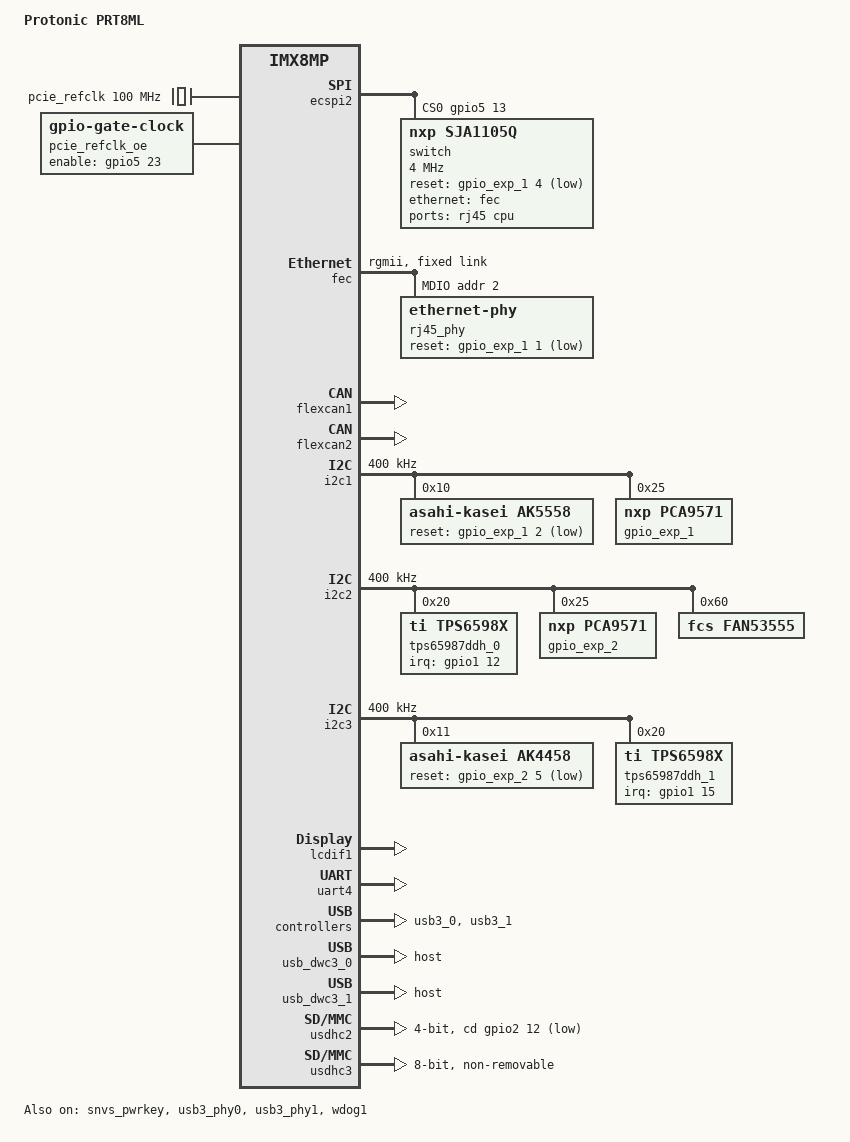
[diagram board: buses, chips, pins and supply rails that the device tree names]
// SPDX-License-Identifier: (GPL-2.0 OR MIT)
/*
 * Copyright 2020 Protonic Holland
 * Copyright 2019 NXP
 */

/dts-v1/;

#include "imx8mp.dtsi"

/ {
	model = "Protonic PRT8ML";
	compatible = "prt,prt8ml", "fsl,imx8mp";

	chosen {
		stdout-path = &uart4;
	};

	pcie_refclk: pcie0-refclk {
		compatible = "fixed-clock";
		#clock-cells = <0>;
		clock-frequency = <100000000>;
	};

	pcie_refclk_oe: pcie0-refclk-oe {
		compatible = "gpio-gate-clock";
		pinctrl-names = "default";
		pinctrl-0 = <&pinctrl_pcie_refclk>;
		clocks = <&pcie_refclk>;
		#clock-cells = <0>;
		enable-gpios = <&gpio5 23 GPIO_ACTIVE_HIGH>;
	};
};

&A53_0 {
	cpu-supply = <&fan53555>;
};

&A53_1 {
	cpu-supply = <&fan53555>;
};

&A53_2 {
	cpu-supply = <&fan53555>;
};

&A53_3 {
	cpu-supply = <&fan53555>;
};

&a53_opp_table {
	opp-1200000000 {
		opp-microvolt = <900000>;
	};

	opp-1600000000 {
		opp-microvolt = <980000>;
	};

	/* Power supply insuffient for 1.8 GHz */
	/delete-node/ opp-1800000000;
};

&ecspi2 {
	pinctrl-names = "default";
	pinctrl-0 = <&pinctrl_ecspi2>;
	cs-gpios = <&gpio5 13 GPIO_ACTIVE_HIGH>;

	/* Disable DMA to meet performance requirements */
	/delete-property/ dmas;
	/delete-property/ dma-names;
	status = "okay";

	switch@0 {
		compatible = "nxp,sja1105q";
		reg = <0>;
		reset-gpios = <&gpio_exp_1 4 GPIO_ACTIVE_LOW>;
		spi-cpha;
		spi-max-frequency = <4000000>;
		spi-rx-delay-us = <1>;
		spi-tx-delay-us = <1>;

		ports {
			#address-cells = <1>;
			#size-cells = <0>;

			port@3 {
				reg = <3>;
				label = "rj45";
				phy-handle = <&rj45_phy>;
				phy-mode = "rgmii-id";
			};

			port@4 {
				reg = <4>;
				ethernet = <&fec>;
				label = "cpu";
				phy-mode = "rgmii-id";
				rx-internal-delay-ps = <2000>;
				tx-internal-delay-ps = <2000>;

				/* Unreliable at 1000Mbps, limit RGMII to 100Mbps */
				fixed-link {
					full-duplex;
					speed = <100>;
				};
			};
		};
	};
};

&fec {
	pinctrl-names = "default";
	pinctrl-0 = <&pinctrl_fec>;
	phy-mode = "rgmii"; /* switch inserts delay */
	rx-internal-delay-ps = <0>;
	tx-internal-delay-ps = <0>;
	status = "okay";

	fixed-link {
		full-duplex;
		speed = <100>;
	};

	mdio {
		#address-cells = <1>;
		#size-cells = <0>;

		rj45_phy: ethernet-phy@2 {
			reg = <2>;
			reset-gpios = <&gpio_exp_1 1 GPIO_ACTIVE_LOW>;
			reset-assert-us = <10000>;
			reset-deassert-us = <80000>;
		};
	};
};

&flexcan1 {
	pinctrl-names = "default";
	pinctrl-0 = <&pinctrl_flexcan1>;
	status = "okay";
};

&flexcan2 {
	pinctrl-names = "default";
	pinctrl-0 = <&pinctrl_flexcan2>;
	status = "okay";
};

&i2c1 {
	clock-frequency = <400000>;
	pinctrl-names = "default";
	pinctrl-0 = <&pinctrl_i2c1>;
	status = "okay";

	ak5558: codec@10 {
		compatible = "asahi-kasei,ak5558";
		reg = <0x10>;
		reset-gpios = <&gpio_exp_1 2 GPIO_ACTIVE_LOW>;
	};

	gpio_exp_1: gpio@25 {
		compatible = "nxp,pca9571";
		reg = <0x25>;
		gpio-controller;
		#gpio-cells = <2>;
	};
};

&i2c2 {
	clock-frequency = <400000>;
	pinctrl-names = "default";
	pinctrl-0 = <&pinctrl_i2c2>;
	status = "okay";

	tps65987ddh_0: usb-pd@20 {
		compatible = "ti,tps6598x";
		reg = <0x20>;
		pinctrl-names = "default";
		pinctrl-0 = <&pinctrl_tps65987ddh_0>;
		interrupts-extended = <&gpio1 12 IRQ_TYPE_LEVEL_LOW>;
	};

	gpio_exp_2: gpio@25 {
		compatible = "nxp,pca9571";
		reg = <0x25>;
		gpio-controller;
		#gpio-cells = <2>;

		c0-hreset-hog {
			gpio-hog;
			gpios = <7 GPIO_ACTIVE_LOW>;
			line-name = "c0-hreset";
			output-low;
		};

		c1-hreset-hog {
			gpio-hog;
			gpios = <6 GPIO_ACTIVE_LOW>;
			line-name = "c1-hreset";
			output-low;
		};
	};

	fan53555: regulator@60 {
		compatible = "fcs,fan53555";
		reg = <0x60>;
		pinctrl-names = "default";
		pinctrl-0 = <&pinctrl_fan53555>;
		regulator-name = "fan53555";
		regulator-min-microvolt = <900000>;
		regulator-max-microvolt = <980000>;
		regulator-always-on;
		regulator-boot-on;
		fcs,suspend-voltage-selector = <1>;
	};
};

&i2c3 {
	clock-frequency = <400000>;
	pinctrl-names = "default";
	pinctrl-0 = <&pinctrl_i2c3>;
	status = "okay";

	ak4458: codec@11 {
		compatible = "asahi-kasei,ak4458";
		reg = <0x11>;
		#sound-dai-cells = <0>;
		reset-gpios = <&gpio_exp_2 5 GPIO_ACTIVE_LOW>;
	};

	tps65987ddh_1: usb-pd@20 {
		compatible = "ti,tps6598x";
		reg = <0x20>;
		pinctrl-names = "default";
		pinctrl-0 = <&pinctrl_tps65987ddh_1>;
		interrupts-extended = <&gpio1 15 IRQ_TYPE_LEVEL_LOW>;
	};
};

&lcdif1 {
	status = "okay";
};

&snvs_pwrkey {
	status = "okay";
};

&uart4 {
	pinctrl-names = "default";
	pinctrl-0 = <&pinctrl_uart4>;
	status = "okay";
};

&usb3_0 {
	status = "okay";
};

&usb3_1 {
	status = "okay";
};

&usb3_phy0 {
	status = "okay";
};

&usb3_phy1 {
	status = "okay";
};

&usb_dwc3_0 {
	dr_mode = "host";
	status = "okay";
};

&usb_dwc3_1 {
	dr_mode = "host";
	status = "okay";
};

&usdhc2 {
	pinctrl-names = "default", "state_100mhz", "state_200mhz";
	pinctrl-0 = <&pinctrl_usdhc2>, <&pinctrl_usdhc2_gpio>;
	pinctrl-1 = <&pinctrl_usdhc2_100mhz>, <&pinctrl_usdhc2_gpio>;
	pinctrl-2 = <&pinctrl_usdhc2_200mhz>, <&pinctrl_usdhc2_gpio>;
	assigned-clocks = <&clk IMX8MP_CLK_USDHC2>;
	assigned-clock-rates = <100000000>;
	bus-width = <4>;
	cd-gpios = <&gpio2 12 GPIO_ACTIVE_LOW>;
	no-1-8-v;
	sd-uhs-sdr12;
	sd-uhs-sdr25;
	status = "okay";
};

&usdhc3 {
	pinctrl-names = "default", "state_100mhz", "state_200mhz";
	pinctrl-0 = <&pinctrl_usdhc3>;
	pinctrl-1 = <&pinctrl_usdhc3_100mhz>;
	pinctrl-2 = <&pinctrl_usdhc3_200mhz>;
	assigned-clocks = <&clk IMX8MP_CLK_USDHC3_ROOT>;
	assigned-clock-rates = <400000000>;
	bus-width = <8>;
	non-removable;
	no-sdio;
	no-sd;
	status = "okay";
};

&wdog1 {
	pinctrl-names = "default";
	pinctrl-0 = <&pinctrl_wdog>;
	fsl,ext-reset-output;
	status = "okay";
};

&iomuxc {
	pinctrl_ecspi2: ecspi2grp {
		fsl,pins = <
			MX8MP_IOMUXC_ECSPI2_SCLK__ECSPI2_SCLK		0x154
			MX8MP_IOMUXC_ECSPI2_MOSI__ECSPI2_MOSI		0x154
			MX8MP_IOMUXC_ECSPI2_MISO__ECSPI2_MISO		0x154
			MX8MP_IOMUXC_ECSPI2_SS0__GPIO5_IO13		0x154
		>;
	};

	pinctrl_fan53555: fan53555grp {
		fsl,pins = <
			MX8MP_IOMUXC_SPDIF_EXT_CLK__GPIO5_IO05		0x114
		>;
	};

	pinctrl_fec: fecgrp {
		fsl,pins = <
			MX8MP_IOMUXC_SAI1_RXD2__ENET1_MDC		0x3
			MX8MP_IOMUXC_SAI1_RXD3__ENET1_MDIO		0x3
			MX8MP_IOMUXC_SAI1_RXD4__ENET1_RGMII_RD0		0x91
			MX8MP_IOMUXC_SAI1_RXD5__ENET1_RGMII_RD1		0x91
			MX8MP_IOMUXC_SAI1_RXD6__ENET1_RGMII_RD2		0x91
			MX8MP_IOMUXC_SAI1_RXD7__ENET1_RGMII_RD3		0x91
			MX8MP_IOMUXC_SAI1_TXC__ENET1_RGMII_RXC		0x91
			MX8MP_IOMUXC_SAI1_TXFS__ENET1_RGMII_RX_CTL	0x91
			MX8MP_IOMUXC_SAI1_TXD0__ENET1_RGMII_TD0		0x1f
			MX8MP_IOMUXC_SAI1_TXD1__ENET1_RGMII_TD1		0x1f
			MX8MP_IOMUXC_SAI1_TXD2__ENET1_RGMII_TD2		0x1f
			MX8MP_IOMUXC_SAI1_TXD3__ENET1_RGMII_TD3		0x1f
			MX8MP_IOMUXC_SAI1_TXD4__ENET1_RGMII_TX_CTL	0x1f
			MX8MP_IOMUXC_SAI1_TXD5__ENET1_RGMII_TXC		0x1f
		>;
	};

	pinctrl_flexcan1: flexcan1grp {
		fsl,pins = <
			MX8MP_IOMUXC_SPDIF_RX__CAN1_RX		0x154
			MX8MP_IOMUXC_SPDIF_TX__CAN1_TX		0x154
		>;
	};

	pinctrl_flexcan2: flexcan2grp {
		fsl,pins = <
			MX8MP_IOMUXC_UART3_TXD__CAN2_RX		0x154
			MX8MP_IOMUXC_UART3_RXD__CAN2_TX		0x154
		>;
	};

	pinctrl_i2c1: i2c1grp {
		fsl,pins = <
			MX8MP_IOMUXC_ECSPI1_SCLK__I2C1_SCL	0x400000c3
			MX8MP_IOMUXC_ECSPI1_MOSI__I2C1_SDA	0x400000c3
		>;
	};

	pinctrl_i2c2: i2c2grp {
		fsl,pins = <
			MX8MP_IOMUXC_I2C2_SCL__I2C2_SCL		0x400000c3
			MX8MP_IOMUXC_I2C2_SDA__I2C2_SDA		0x400000c3
		>;
	};

	pinctrl_i2c3: i2c3grp {
		fsl,pins = <
			MX8MP_IOMUXC_I2C3_SCL__I2C3_SCL		0x400000c3
			MX8MP_IOMUXC_I2C3_SDA__I2C3_SDA		0x400000c3
		>;
	};

	pinctrl_pcie_refclk: pcierefclkgrp {
		fsl,pins = <
			MX8MP_IOMUXC_UART1_TXD__GPIO5_IO23	0xc6
		>;
	};

	pinctrl_tps65987ddh_0: tps65987ddh-0grp {
		fsl,pins = <
			MX8MP_IOMUXC_GPIO1_IO12__GPIO1_IO12	0x1d0
		>;
	};

	pinctrl_tps65987ddh_1: tps65987ddh-1grp {
		fsl,pins = <
			MX8MP_IOMUXC_GPIO1_IO15__GPIO1_IO15	0x1d0
		>;
	};

	pinctrl_uart4: uart4grp {
		fsl,pins = <
			MX8MP_IOMUXC_UART4_RXD__UART4_DCE_RX		0x040
			MX8MP_IOMUXC_UART4_TXD__UART4_DCE_TX		0x040
		>;
	};

	pinctrl_usdhc2: usdhc2grp {
		fsl,pins = <
			MX8MP_IOMUXC_SD2_CLK__USDHC2_CLK		0x190
			MX8MP_IOMUXC_SD2_CMD__USDHC2_CMD		0x1d0
			MX8MP_IOMUXC_SD2_DATA0__USDHC2_DATA0		0x1d0
			MX8MP_IOMUXC_SD2_DATA1__USDHC2_DATA1		0x1d0
			MX8MP_IOMUXC_SD2_DATA2__USDHC2_DATA2		0x1d0
			MX8MP_IOMUXC_SD2_DATA3__USDHC2_DATA3		0x1d0
		>;
	};

	pinctrl_usdhc2_100mhz: usdhc2-100mhzgrp {
		fsl,pins = <
			MX8MP_IOMUXC_SD2_CLK__USDHC2_CLK		0x194
			MX8MP_IOMUXC_SD2_CMD__USDHC2_CMD		0x1d4
			MX8MP_IOMUXC_SD2_DATA0__USDHC2_DATA0		0x1d4
			MX8MP_IOMUXC_SD2_DATA1__USDHC2_DATA1		0x1d4
			MX8MP_IOMUXC_SD2_DATA2__USDHC2_DATA2		0x1d4
			MX8MP_IOMUXC_SD2_DATA3__USDHC2_DATA3		0x1d4
		>;
	};

	pinctrl_usdhc2_200mhz: usdhc2-200mhzgrp {
		fsl,pins = <
			MX8MP_IOMUXC_SD2_CLK__USDHC2_CLK		0x196
			MX8MP_IOMUXC_SD2_CMD__USDHC2_CMD		0x1d6
			MX8MP_IOMUXC_SD2_DATA0__USDHC2_DATA0		0x1d6
			MX8MP_IOMUXC_SD2_DATA1__USDHC2_DATA1		0x1d6
			MX8MP_IOMUXC_SD2_DATA2__USDHC2_DATA2		0x1d6
			MX8MP_IOMUXC_SD2_DATA3__USDHC2_DATA3		0x1d6
		>;
	};

	pinctrl_usdhc2_gpio: usdhc2-gpiogrp {
		fsl,pins = <
			MX8MP_IOMUXC_SD2_CD_B__GPIO2_IO12		0x0d4
		>;
	};

	pinctrl_usdhc3: usdhc3grp {
		fsl,pins = <
			MX8MP_IOMUXC_NAND_WE_B__USDHC3_CLK		0x190
			MX8MP_IOMUXC_NAND_WP_B__USDHC3_CMD		0x1d0
			MX8MP_IOMUXC_NAND_DATA04__USDHC3_DATA0		0x1d0
			MX8MP_IOMUXC_NAND_DATA05__USDHC3_DATA1		0x1d0
			MX8MP_IOMUXC_NAND_DATA06__USDHC3_DATA2		0x1d0
			MX8MP_IOMUXC_NAND_DATA07__USDHC3_DATA3		0x1d0
			MX8MP_IOMUXC_NAND_RE_B__USDHC3_DATA4		0x1d0
			MX8MP_IOMUXC_NAND_CE2_B__USDHC3_DATA5		0x1d0
			MX8MP_IOMUXC_NAND_CE3_B__USDHC3_DATA6		0x1d0
			MX8MP_IOMUXC_NAND_CLE__USDHC3_DATA7		0x1d0
			MX8MP_IOMUXC_NAND_CE1_B__USDHC3_STROBE		0x190
		>;
	};

	pinctrl_usdhc3_100mhz: usdhc3-100mhzgrp {
		fsl,pins = <
			MX8MP_IOMUXC_NAND_WE_B__USDHC3_CLK		0x194
			MX8MP_IOMUXC_NAND_WP_B__USDHC3_CMD		0x1d4
			MX8MP_IOMUXC_NAND_DATA04__USDHC3_DATA0		0x1d4
			MX8MP_IOMUXC_NAND_DATA05__USDHC3_DATA1		0x1d4
			MX8MP_IOMUXC_NAND_DATA06__USDHC3_DATA2		0x1d4
			MX8MP_IOMUXC_NAND_DATA07__USDHC3_DATA3		0x1d4
			MX8MP_IOMUXC_NAND_RE_B__USDHC3_DATA4		0x1d4
			MX8MP_IOMUXC_NAND_CE2_B__USDHC3_DATA5		0x1d4
			MX8MP_IOMUXC_NAND_CE3_B__USDHC3_DATA6		0x1d4
			MX8MP_IOMUXC_NAND_CLE__USDHC3_DATA7		0x1d4
			MX8MP_IOMUXC_NAND_CE1_B__USDHC3_STROBE		0x194
		>;
	};

	pinctrl_usdhc3_200mhz: usdhc3-200mhzgrp {
		fsl,pins = <
			MX8MP_IOMUXC_NAND_WE_B__USDHC3_CLK		0x196
			MX8MP_IOMUXC_NAND_WP_B__USDHC3_CMD		0x1d6
			MX8MP_IOMUXC_NAND_DATA04__USDHC3_DATA0		0x1d6
			MX8MP_IOMUXC_NAND_DATA05__USDHC3_DATA1		0x1d6
			MX8MP_IOMUXC_NAND_DATA06__USDHC3_DATA2		0x1d6
			MX8MP_IOMUXC_NAND_DATA07__USDHC3_DATA3		0x1d6
			MX8MP_IOMUXC_NAND_RE_B__USDHC3_DATA4		0x1d6
			MX8MP_IOMUXC_NAND_CE2_B__USDHC3_DATA5		0x1d6
			MX8MP_IOMUXC_NAND_CE3_B__USDHC3_DATA6		0x1d6
			MX8MP_IOMUXC_NAND_CLE__USDHC3_DATA7		0x1d6
			MX8MP_IOMUXC_NAND_CE1_B__USDHC3_STROBE		0x196
		>;
	};

	pinctrl_wdog: wdoggrp {
		fsl,pins = <
			MX8MP_IOMUXC_GPIO1_IO02__WDOG1_WDOG_B		0x166
		>;
	};
};
